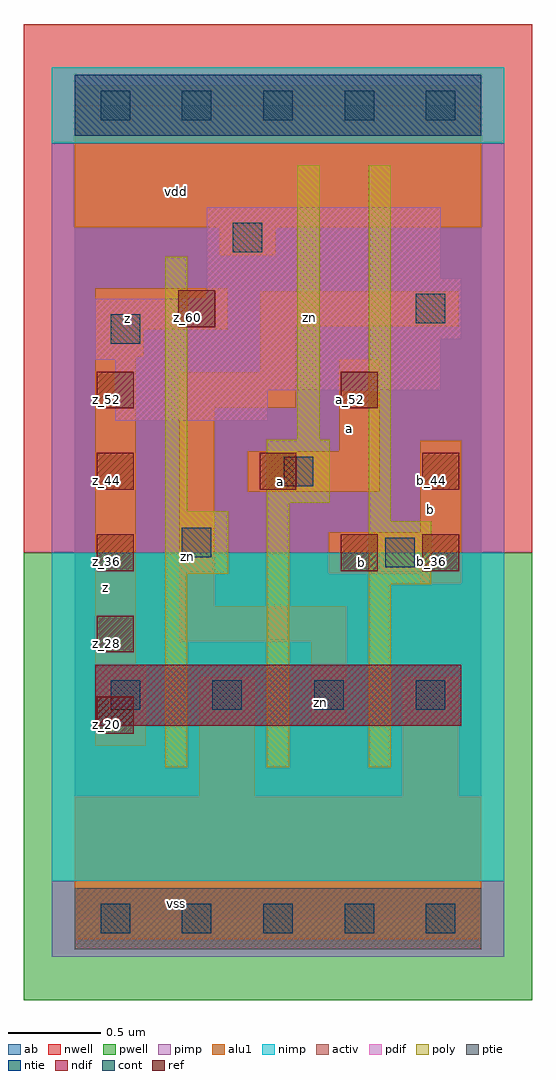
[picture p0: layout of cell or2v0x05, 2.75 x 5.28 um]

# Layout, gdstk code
import gdstk
lib = gdstk.Library(unit=1e-6, precision=2.5e-09)
def R(c, l, rs):  # rectangles x0, y0, x1, y1
    for r in rs: c.add(gdstk.rectangle(r[:2], r[2:], *l))
def A(c, l, x, y, w, h, nx, ny, dx, dy):  # array of equal rectangles
    R(c, l, [(x+i*dx, y+j*dy, x+i*dx+w, y+j*dy+h) for i in range(nx) for j in range(ny)])
ndif = (3, 0)
pdif = (4, 0)
ntie = (5, 0)
ptie = (6, 0)
ref = (24, 0)
cont = (25, 0)
pwell = (41, 0)
nwell = (42, 0)
activ = (43, 0)
pimp = (44, 0)
nimp = (45, 0)
poly = (46, 0)
alu1 = (49, 0)
ab = (63, 0)

or2v0x05 = lib.new_cell('or2v0x05')
R(or2v0x05, ndif, [(0.11,1.045,2.09,1.375)])
R(or2v0x05, pdif, [(0.22,2.695,1.045,2.86), (0.22,2.86,1.98,3.025), (0.11,3.025,1.98,3.135), (0.11,3.135,2.09,3.355), (0.715,3.355,2.09,3.465), (0.715,3.465,1.98,3.85)])
R(or2v0x05, ntie, [(0,4.235,2.2,4.565)])
R(or2v0x05, ptie, [(0,-0.165,2.2,0.165)])
A(or2v0x05, ref, 0.12, 1, 0.2, 0.2, 1, 3, 0, 0.44)
A(or2v0x05, ref, 0.12, 2.32, 0.2, 0.2, 3, 1, 0.88, 0)
R(or2v0x05, ref, [(1.44,1.88,1.64,2.08), (1.88,1.88,2.08,2.08), (0.12,2.76,0.32,2.96), (1.44,2.76,1.64,2.96), (0.56,3.2,0.76,3.4)])
A(or2v0x05, cont, 0.14, -0.08, 0.16, 0.16, 5, 2, 0.44, 4.4)
A(or2v0x05, cont, 0.195, 1.13, 0.16, 0.16, 4, 1, 0.55, 0)
R(or2v0x05, cont, [(1.68,1.9,1.84,2.06), (0.58,1.955,0.74,2.115), (1.13,2.34,1.29,2.5), (0.195,3.11,0.355,3.27), (1.845,3.22,2.005,3.38), (0.855,3.605,1.015,3.765)])
R(or2v0x05, pwell, [(-0.275,-0.44,2.475,1.98)])
R(or2v0x05, nwell, [(-0.275,1.98,2.475,4.84)])
R(or2v0x05, activ, [(0,-0.165,2.2,0.165), (0.11,1.045,2.09,1.375), (0.22,2.695,1.045,2.86), (0.22,2.86,1.98,3.025), (0.11,3.025,1.98,3.135), (0.11,3.135,2.09,3.355), (0.715,3.355,2.09,3.465), (0.715,3.465,1.98,3.85), (0,4.235,2.2,4.565)])
R(or2v0x05, pimp, [(-0.125,-0.205,2.325,0.205), (-0.125,1.98,2.325,4.195)])
R(or2v0x05, nimp, [(-0.125,0.205,2.325,1.98), (-0.125,4.195,2.325,4.605)])
R(or2v0x05, poly, [(0.49,0.82,0.61,1.865), (1.04,0.82,1.16,2.25), (1.59,0.82,1.71,1.81), (1.59,1.81,1.93,2.15), (0.49,1.865,0.83,2.205), (1.59,2.15,1.71,4.075), (0.49,2.205,0.61,3.58), (1.04,2.25,1.38,2.59), (1.205,2.59,1.325,4.075)])
R(or2v0x05, alu1, [(0,-0.11,2.2,0.66), (0.675,0.66,0.975,1.305), (1.775,0.66,2.075,1.305), (0.11,0.935,0.385,1.375), (1.28,1.06,1.47,1.5), (0.11,1.375,0.33,3.04), (0.565,1.5,1.47,1.69), (0.565,1.69,0.755,2.765), (1.87,1.815,2.09,1.87), (1.375,1.87,2.09,2.09), (1.87,2.09,2.09,2.585), (0.935,2.31,1.65,2.53), (1.43,2.53,1.65,3.025), (0.565,2.765,1.195,2.955), (1.005,2.955,1.195,3.205), (0.11,3.04,0.37,3.19), (0.11,3.19,0.825,3.41), (1.005,3.205,2.075,3.395), (0.785,3.59,1.085,3.74), (0,3.74,2.2,4.51)])
R(or2v0x05, ab, [(0,0,2.2,4.4)])
or2v0x05.add(gdstk.Label('vss', (0.55,0.0825), layer=49, texttype=0))
or2v0x05.add(gdstk.Label('zn', (1.3275,1.17), layer=49, texttype=0))
or2v0x05.add(gdstk.Label('b', (1.5525,1.925), layer=49, texttype=0))
or2v0x05.add(gdstk.Label('b', (1.925,2.2125), layer=49, texttype=0))
or2v0x05.add(gdstk.Label('a', (1.1125,2.365), layer=49, texttype=0))
or2v0x05.add(gdstk.Label('a', (1.485,2.6525), layer=49, texttype=0))
or2v0x05.add(gdstk.Label('zn', (0.6125,1.9575), layer=49, texttype=0))
or2v0x05.add(gdstk.Label('z', (0.165,1.79), layer=49, texttype=0))
or2v0x05.add(gdstk.Label('zn', (1.2725,3.2525), layer=49, texttype=0))
or2v0x05.add(gdstk.Label('z', (0.2875,3.245), layer=49, texttype=0))
or2v0x05.add(gdstk.Label('vdd', (0.55,3.9325), layer=49, texttype=0))
or2v0x05.add(gdstk.Label('z_60', (0.61,3.25), layer=24, texttype=0))
or2v0x05.add(gdstk.Label('a_44', (1.05,2.37), layer=24, texttype=0))
or2v0x05.add(gdstk.Label('b_36', (1.49,1.93), layer=24, texttype=0))
or2v0x05.add(gdstk.Label('a_52', (1.49,2.81), layer=24, texttype=0))
or2v0x05.add(gdstk.Label('b_36', (1.93,1.93), layer=24, texttype=0))
or2v0x05.add(gdstk.Label('b_44', (1.93,2.37), layer=24, texttype=0))
or2v0x05.add(gdstk.Label('z_20', (0.17,1.05), layer=24, texttype=0))
or2v0x05.add(gdstk.Label('z_28', (0.17,1.49), layer=24, texttype=0))
or2v0x05.add(gdstk.Label('z_36', (0.17,1.93), layer=24, texttype=0))
or2v0x05.add(gdstk.Label('z_44', (0.17,2.37), layer=24, texttype=0))
or2v0x05.add(gdstk.Label('z_52', (0.17,2.81), layer=24, texttype=0))

lib.write_gds('or2v0x05.gds')
